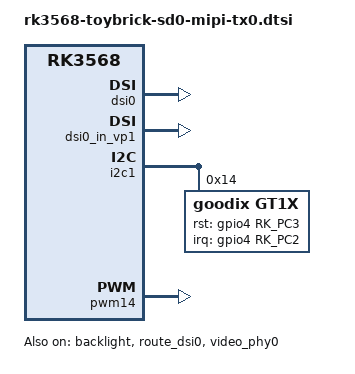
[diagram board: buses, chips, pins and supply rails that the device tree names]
// SPDX-License-Identifier: (GPL-2.0+ OR MIT)
/*
 * Copyright (c) 2023 Rockchip Electronics Co., Ltd.
 *
 */

/ {
	compatible = "rockchip,rk3568-toybrick-sd0-mipi-tx0", "rockchip,rk3568";
};

/*
 * mipi_dphy0 needs to be enabled
 * when dsi0 is enabled
 */
&backlight {
	status = "okay";
	pwms = <&pwm14 0 25000 0>;
};

&dsi0 {
	status = "okay";
};

&dsi0_in_vp0 {
	status = "disabled";
};

&dsi0_in_vp1 {
	status = "okay";
};

&dsi0_panel {
	power-supply = <&vcc3v3_lcd0_n>;
};

&i2c1 {
	status = "okay";
	power-supply = <&vcc3v3_lcd0_n>;
	gt1x: gt1x@14 {
		compatible = "goodix,gt1x";
		status = "okay";
		reg = <0x14>;
		pinctrl-names = "default";
		pinctrl-0 = <&touch_pin>;
		goodix,rst-gpio = <&gpio4 RK_PC3 GPIO_ACTIVE_HIGH>;
		goodix,irq-gpio = <&gpio4 RK_PC2 IRQ_TYPE_LEVEL_LOW>;
	};
};

&pwm14{
	status = "okay";
};

&route_dsi0 {
	status = "okay";
	connect = <&vp1_out_dsi0>;
};

&vcc3v3_lcd0_n {
	gpio = <&gpio3 RK_PC5 GPIO_ACTIVE_HIGH>;
	enable-active-high;
};

&video_phy0 {
	status = "okay";
};

&pinctrl {
	touch {
		touch_pin: touch-pin {
			rockchip,pins =
				<4 RK_PC3 RK_FUNC_GPIO &pcfg_pull_up>,
				<4 RK_PC2 RK_FUNC_GPIO &pcfg_pull_none>;
		};
	};
};
